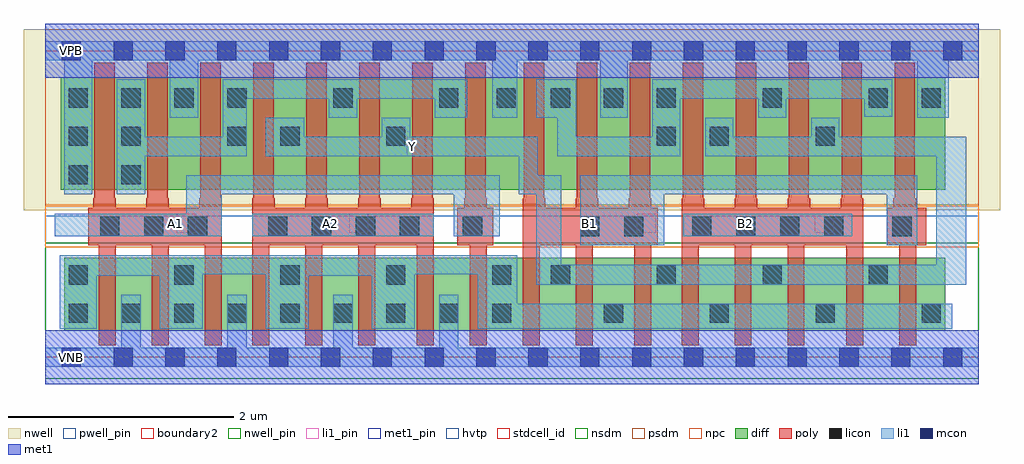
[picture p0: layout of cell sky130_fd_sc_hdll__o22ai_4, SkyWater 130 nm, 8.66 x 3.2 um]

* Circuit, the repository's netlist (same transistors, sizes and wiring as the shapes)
* Copyright 2020 The SkyWater PDK Authors
*
* Licensed under the Apache License, Version 2.0 (the "License");
* you may not use this file except in compliance with the License.
* You may obtain a copy of the License at
*
*     https://www.apache.org/licenses/LICENSE-2.0
*
* Unless required by applicable law or agreed to in writing, software
* distributed under the License is distributed on an "AS IS" BASIS,
* WITHOUT WARRANTIES OR CONDITIONS OF ANY KIND, either express or implied.
* See the License for the specific language governing permissions and
* limitations under the License.
*
* SPDX-License-Identifier: Apache-2.0

.SUBCKT sky130_fd_sc_hdll__o22ai_4 A1 A2 B1 B2 VGND VNB VPB VPWR Y
*.PININFO A1:I A2:I B1:I B2:I VGND:I VNB:I VPB:I VPWR:I Y:O
MMPA0 VPWR A1 sndA1 VPB sky130_fd_pr__pfet_01v8_hvt m=4 w=1.0U l=0.18U mult=1 sa=0.265
+ sb=0.265 sd=0.28 area=0.063 perim=1.14
MMPA1 sndA1 A2 Y VPB sky130_fd_pr__pfet_01v8_hvt m=4 w=1.0U l=0.18U mult=1 sa=0.265
+ sb=0.265 sd=0.28 area=0.063 perim=1.14
MMPB0 VPWR B1 sndB1 VPB sky130_fd_pr__pfet_01v8_hvt m=4 w=1.0U l=0.18U mult=1 sa=0.265
+ sb=0.265 sd=0.28 area=0.063 perim=1.14
MMPB1 sndB1 B2 Y VPB sky130_fd_pr__pfet_01v8_hvt m=4 w=1.0U l=0.18U mult=1 sa=0.265
+ sb=0.265 sd=0.28 area=0.063 perim=1.14
MMNA0 pndA A1 VGND VNB sky130_fd_pr__nfet_01v8 m=4 w=0.65U l=0.15U mult=1 sa=0.265
+ sb=0.265 sd=0.28 area=0.063 perim=1.14
MMNA1 pndA A2 VGND VNB sky130_fd_pr__nfet_01v8 m=4 w=0.65U l=0.15U mult=1 sa=0.265
+ sb=0.265 sd=0.28 area=0.063 perim=1.14
MMNB0 Y B1 pndA VNB sky130_fd_pr__nfet_01v8 m=4 w=0.65U l=0.15U mult=1 sa=0.265
+ sb=0.265 sd=0.28 area=0.063 perim=1.14
MMNB1 Y B2 pndA VNB sky130_fd_pr__nfet_01v8 m=4 w=0.65U l=0.15U mult=1 sa=0.265
+ sb=0.265 sd=0.28 area=0.063 perim=1.14
.ENDS sky130_fd_sc_hdll__o22ai_4

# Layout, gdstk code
import gdstk
lib = gdstk.Library(unit=1e-6, precision=1e-09)
def R(c, l, rs):  # rectangles x0, y0, x1, y1
    for r in rs: c.add(gdstk.rectangle(r[:2], r[2:], *l))
def A(c, l, x, y, w, h, nx, ny, dx, dy):  # array of equal rectangles
    R(c, l, [(x+i*dx, y+j*dy, x+i*dx+w, y+j*dy+h) for i in range(nx) for j in range(ny)])
def P(c, l, *ps):  # polygons
    for p in ps: c.add(gdstk.Polygon(p, *l))
nwell_pin = (64, 16)
nwell = (64, 20)
diff = (65, 20)
poly = (66, 20)
licon = (66, 44)
li1_pin = (67, 16)
li1 = (67, 20)
mcon = (67, 44)
met1_pin = (68, 16)
met1 = (68, 20)
hvtp = (78, 44)
stdcell_id = (81, 4)
nsdm = (93, 44)
psdm = (94, 20)
npc = (95, 20)
pwell_pin = (122, 16)
boundary2 = (236, 0)

sky130_fd_sc_hdll__o22ai = lib.new_cell('sky130_fd_sc_hdll__o22ai_4')
R(sky130_fd_sc_hdll__o22ai, nwell_pin, [(0.145,2.635,0.315,2.805)])
R(sky130_fd_sc_hdll__o22ai, nwell, [(-0.19,1.305,8.47,2.91)])
R(sky130_fd_sc_hdll__o22ai, diff, [(0.165,0.235,7.985,0.885), (0.135,1.485,7.985,2.485)])
P(sky130_fd_sc_hdll__o22ai, poly, [(1.565,1.41),(1.555,1.41),(1.555,2.615),(1.375,2.615),(1.375,1.41),(1.365,1.41),(1.365,1.325),(1.095,1.325),(1.095,1.41),(1.085,1.41),(1.085,2.615),(0.905,2.615),(0.905,1.41),(0.895,1.41),(0.895,1.325),(0.625,1.325),(0.625,1.41),(0.615,1.41),(0.615,2.615),(0.435,2.615),(0.435,1.41),(0.425,1.41),(0.425,1.325),(0.38,1.325),(0.38,0.995),(0.475,0.995),(0.475,0.105),(0.625,0.105),(0.625,0.995),(0.945,0.995),(0.945,0.105),(1.095,0.105),(1.095,0.995),(1.415,0.995),(1.415,0.105),(1.565,0.105)],
  [(3.445,1.41),(3.435,1.41),(3.435,2.615),(3.255,2.615),(3.255,1.41),(3.245,1.41),(3.245,1.325),(2.975,1.325),(2.975,1.41),(2.965,1.41),(2.965,2.615),(2.785,2.615),(2.785,1.41),(2.775,1.41),(2.775,1.325),(2.505,1.325),(2.505,1.41),(2.495,1.41),(2.495,2.615),(2.315,2.615),(2.315,1.41),(2.305,1.41),(2.305,1.325),(2.035,1.325),(2.035,1.41),(2.025,1.41),(2.025,2.615),(1.845,2.615),(1.845,1.41),(1.835,1.41),(1.835,0.105),(1.985,0.105),(1.985,0.995),(2.305,0.995),(2.305,0.105),(2.455,0.105),(2.455,0.995),(2.775,0.995),(2.775,0.105),(2.925,0.105),(2.925,0.995),(3.295,0.995),(3.295,0.105),(3.445,0.105)],
  [(3.975,1.325),(3.915,1.325),(3.915,1.41),(3.905,1.41),(3.905,2.615),(3.725,2.615),(3.725,1.41),(3.715,1.41),(3.715,1.325),(3.655,1.325),(3.655,0.995),(3.765,0.995),(3.765,0.105),(3.915,0.105),(3.915,0.995),(3.975,0.995)],
  [(5.435,1.325),(5.375,1.325),(5.375,1.41),(5.365,1.41),(5.365,2.615),(5.185,2.615),(5.185,1.41),(5.175,1.41),(5.175,1.325),(4.905,1.325),(4.905,1.41),(4.895,1.41),(4.895,2.615),(4.715,2.615),(4.715,1.41),(4.705,1.41),(4.705,1.325),(4.435,1.325),(4.435,1.41),(4.425,1.41),(4.425,2.615),(4.245,2.615),(4.245,1.41),(4.235,1.41),(4.235,0.105),(4.385,0.105),(4.385,0.995),(4.705,0.995),(4.705,0.105),(4.855,0.105),(4.855,0.995),(5.225,0.995),(5.225,0.105),(5.375,0.105),(5.375,0.995),(5.435,0.995)],
  [(7.255,1.41),(7.245,1.41),(7.245,2.615),(7.065,2.615),(7.065,1.41),(7.055,1.41),(7.055,1.325),(6.785,1.325),(6.785,1.41),(6.775,1.41),(6.775,2.615),(6.595,2.615),(6.595,1.41),(6.585,1.41),(6.585,1.325),(6.315,1.325),(6.315,1.41),(6.305,1.41),(6.305,2.615),(6.125,2.615),(6.125,1.41),(6.115,1.41),(6.115,1.325),(5.845,1.325),(5.845,1.41),(5.835,1.41),(5.835,2.615),(5.655,2.615),(5.655,1.41),(5.645,1.41),(5.645,0.105),(5.795,0.105),(5.795,0.995),(6.115,0.995),(6.115,0.105),(6.265,0.105),(6.265,0.995),(6.585,0.995),(6.585,0.105),(6.735,0.105),(6.735,0.995),(7.105,0.995),(7.105,0.105),(7.255,0.105)],
  [(7.815,1.325),(7.725,1.325),(7.725,1.41),(7.715,1.41),(7.715,2.615),(7.535,2.615),(7.535,1.41),(7.525,1.41),(7.525,1.325),(7.465,1.325),(7.465,0.995),(7.575,0.995),(7.575,0.105),(7.725,0.105),(7.725,0.995),(7.815,0.995)])
A(sky130_fd_sc_hdll__o22ai, licon, 0.205, 0.305, 0.17, 0.17, 9, 1, 0.47, 0)
A(sky130_fd_sc_hdll__o22ai, licon, 4.955, 0.305, 0.17, 0.17, 4, 1, 0.94, 0)
A(sky130_fd_sc_hdll__o22ai, licon, 0.205, 0.645, 0.17, 0.17, 5, 1, 0.94, 0)
A(sky130_fd_sc_hdll__o22ai, licon, 4.485, 0.645, 0.17, 0.17, 4, 1, 0.94, 0)
A(sky130_fd_sc_hdll__o22ai, licon, 0.485, 1.075, 0.17, 0.17, 3, 1, 0.39, 0)
A(sky130_fd_sc_hdll__o22ai, licon, 1.975, 1.075, 0.17, 0.17, 4, 1, 0.39, 0)
A(sky130_fd_sc_hdll__o22ai, licon, 5.74, 1.075, 0.17, 0.17, 4, 1, 0.39, 0)
A(sky130_fd_sc_hdll__o22ai, licon, 0.205, 2.215, 0.17, 0.17, 4, 1, 0.47, 0)
A(sky130_fd_sc_hdll__o22ai, licon, 4.485, 2.215, 0.17, 0.17, 3, 1, 0.47, 0)
R(sky130_fd_sc_hdll__o22ai, licon, [(3.705,1.075,3.875,1.245), (4.745,1.075,4.915,1.245), (5.135,1.075,5.305,1.245), (7.515,1.075,7.685,1.245), (0.205,1.535,0.375,1.705), (0.675,1.535,0.845,1.705), (0.205,1.875,0.375,2.045), (0.675,1.875,0.845,2.045), (1.615,1.875,1.785,2.045), (2.085,1.875,2.255,2.045), (3.025,1.875,3.195,2.045), (5.425,1.875,5.595,2.045), (5.895,1.875,6.065,2.045), (6.835,1.875,7.005,2.045), (2.555,2.215,2.725,2.385), (3.495,2.215,3.665,2.385), (4.005,2.215,4.175,2.385), (6.365,2.215,6.535,2.385), (7.305,2.215,7.475,2.385), (7.775,2.215,7.945,2.385)])
R(sky130_fd_sc_hdll__o22ai, li1_pin, [(1.165,1.105,1.335,1.275), (2.695,1.105,2.865,1.275), (5.245,1.105,5.415,1.275), (6.825,1.105,6.995,1.275), (3.205,1.785,3.375,1.955)])
R(sky130_fd_sc_hdll__o22ai, li1, [(1.835,1.075,3.445,1.275), (5.66,1.075,7.16,1.275)])
P(sky130_fd_sc_hdll__o22ai, li1, [(8.28,0.085),(3.665,0.085),(3.665,0.555),(3.495,0.555),(3.495,0.085),(2.725,0.085),(2.725,0.555),(2.555,0.555),(2.555,0.085),(1.785,0.085),(1.785,0.555),(1.615,0.555),(1.615,0.085),(0.845,0.085),(0.845,0.555),(0.675,0.555),(0.675,0.085),(0,0.085),(0,-0.085),(8.28,-0.085)],
  [(8.28,2.805),(0,2.805),(0,2.635),(0.165,2.635),(0.165,1.445),(0.415,1.445),(0.415,2.635),(1.105,2.635),(1.105,2.125),(1.355,2.125),(1.355,2.635),(3.965,2.635),(3.965,2.125),(4.185,2.125),(4.185,2.635),(4.925,2.635),(4.925,2.125),(5.165,2.125),(5.165,2.635),(7.735,2.635),(7.735,2.125),(8.015,2.125),(8.015,2.635),(8.28,2.635)],
  [(3.745,2.465),(1.575,2.465),(1.575,1.955),(0.885,1.955),(0.885,2.465),(0.635,2.465),(0.635,1.445),(0.885,1.445),(0.885,1.785),(1.785,1.785),(1.785,2.295),(2.515,2.295),(2.515,2.125),(2.765,2.125),(2.765,2.295),(3.455,2.295),(3.455,2.125),(3.745,2.125)],
  [(4.03,1.615),(1.25,1.615),(1.25,1.275),(0.085,1.275),(0.085,1.075),(1.565,1.075),(1.565,1.445),(3.625,1.445),(3.625,1.075),(4.03,1.075)],
  [(7.515,2.465),(5.385,2.465),(5.385,1.955),(4.71,1.955),(4.71,2.465),(4.355,2.465),(4.355,2.125),(4.54,2.125),(4.54,1.785),(5.635,1.785),(5.635,2.295),(6.325,2.295),(6.325,2.125),(6.575,2.125),(6.575,2.295),(7.265,2.295),(7.265,2.135),(7.515,2.135)],
  [(7.735,1.615),(4.745,1.615),(4.745,0.995),(5.49,0.995),(5.49,1.445),(7.465,1.445),(7.465,0.995),(7.735,0.995)],
  [(8.045,0.475),(4.185,0.475),(4.185,0.905),(0.125,0.905),(0.125,0.255),(0.455,0.255),(0.455,0.725),(1.015,0.725),(1.015,0.255),(1.395,0.255),(1.395,0.735),(1.955,0.735),(1.955,0.255),(2.335,0.255),(2.335,0.725),(2.895,0.725),(2.895,0.255),(3.275,0.255),(3.275,0.735),(3.835,0.735),(3.835,0.255),(8.045,0.255)],
  [(8.17,1.955),(7.045,1.955),(7.045,2.125),(6.795,2.125),(6.795,1.955),(6.105,1.955),(6.105,2.125),(5.855,2.125),(5.855,1.785),(7.905,1.785),(7.905,0.82),(4.575,0.82),(4.575,1.615),(4.37,1.615),(4.37,1.955),(3.235,1.955),(3.235,2.125),(2.985,2.125),(2.985,1.955),(2.295,1.955),(2.295,2.125),(1.955,2.125),(1.955,1.785),(4.2,1.785),(4.2,1.445),(4.355,1.445),(4.355,0.645),(8.17,0.645)])
A(sky130_fd_sc_hdll__o22ai, mcon, 0.145, -0.085, 0.17, 0.17, 18, 2, 0.46, 2.72)
R(sky130_fd_sc_hdll__o22ai, met1_pin, [(0.145,-0.085,0.315,0.085), (0.145,2.635,0.315,2.805)])
R(sky130_fd_sc_hdll__o22ai, met1, [(0,-0.24,8.28,0.24), (0,2.48,8.28,2.96)])
R(sky130_fd_sc_hdll__o22ai, hvtp, [(0,1.25,8.28,2.72)])
R(sky130_fd_sc_hdll__o22ai, stdcell_id, [(0,0,8.28,2.72)])
R(sky130_fd_sc_hdll__o22ai, nsdm, [(0,-0.19,8.28,1.015)])
R(sky130_fd_sc_hdll__o22ai, psdm, [(0,1.355,8.28,2.91)])
R(sky130_fd_sc_hdll__o22ai, npc, [(0,0.975,8.28,1.345)])
R(sky130_fd_sc_hdll__o22ai, pwell_pin, [(0.145,-0.085,0.315,0.085)])
R(sky130_fd_sc_hdll__o22ai, boundary2, [(0,0,8.28,2.72)])
sky130_fd_sc_hdll__o22ai.add(gdstk.Label('A1', (1.15,1.19), layer=67, texttype=5))
sky130_fd_sc_hdll__o22ai.add(gdstk.Label('Y', (3.258,1.87), layer=67, texttype=5))
sky130_fd_sc_hdll__o22ai.add(gdstk.Label('A2', (2.53,1.19), layer=67, texttype=5))
sky130_fd_sc_hdll__o22ai.add(gdstk.Label('B1', (4.83,1.19), layer=67, texttype=5))
sky130_fd_sc_hdll__o22ai.add(gdstk.Label('B2', (6.21,1.19), layer=67, texttype=5))
sky130_fd_sc_hdll__o22ai.add(gdstk.Label('VNB', (0.23,0), layer=64, texttype=59))
sky130_fd_sc_hdll__o22ai.add(gdstk.Label('VPB', (0.23,2.72), layer=64, texttype=5))
sky130_fd_sc_hdll__o22ai.add(gdstk.Label('VGND', (0.23,0), layer=68, texttype=5))
sky130_fd_sc_hdll__o22ai.add(gdstk.Label('VPWR', (0.23,2.72), layer=68, texttype=5))
sky130_fd_sc_hdll__o22ai.add(gdstk.Label('o22ai_4', (0,0), layer=83, texttype=44))

lib.write_gds('sky130_fd_sc_hdll__o22ai_4.gds')
